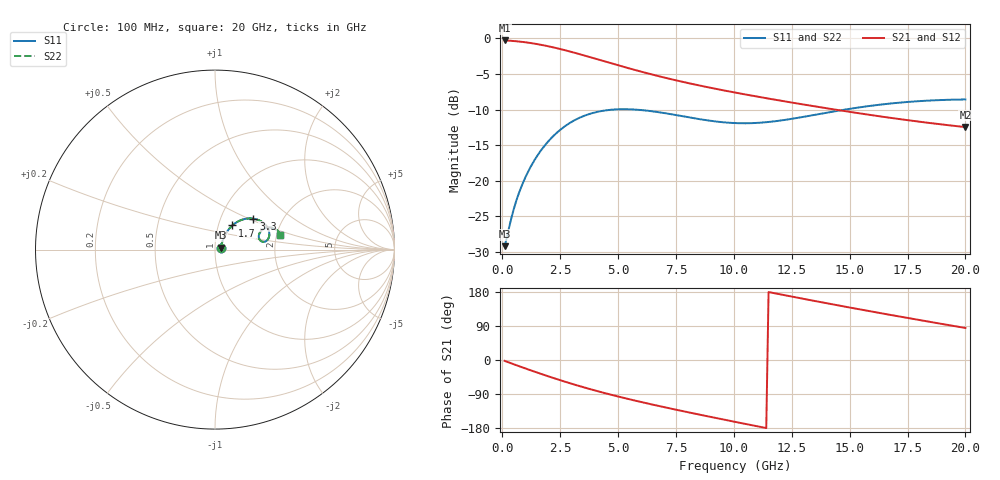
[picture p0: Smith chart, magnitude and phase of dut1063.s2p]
! Touchstone file exported from HFSS 2024.1.0
!  File:  C:/UserFiles/LocalFiles/RDL_TSV_Batchsim/temp_RDL_TSV_1063_1780091258.aedt
!  Generated:  06:06:17 AM May 30, 2026
!  Design:  RDL_TSV
!  Project:  temp_RDL_TSV_1063_1780091258
!  Setup:  Setup1
!  Solution:  Sweep
! Variables:
!  dtsv = 5.71um
!  hbump = 3um
!  htsv = 66.29um
!  ldown = 657.24um
!  lrdl = 568.87um
!  p = 40
!  p1 = 59.14um
!  rhole = 10um
!  subl = 4247.2um
!  t = 450um
!  tdown = 2.21um
!  trdl = 2.29um
!  viad = 10um
!  wdown = 15.44um
!  wrdl = 29.99um
!  xbump = 18um
# GHz S MA R 50.000000
! Terminal data exported
! Port[1] = TM1_1_T1
! Port[2] = TM1_4_T1
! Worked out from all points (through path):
!   200 points, 100 MHz to 20 GHz, reference 50 ohm
!   highest |S21| = -0.29 dB at 100 MHz (marker M1); lowest = -12.5 dB at 20 GHz (marker M2)
!   group delay of S21, straight-line fit = 36.4 ps
!   lowest |S11| = -29.2 dB at 100 MHz (marker M3), VSWR 1.07, Z = 53.4 + j1.11 ohm
!   |S11| at or under -10 dB: start of sweep to 4.834 GHz; 5.694 GHz to 14.82 GHz (9.127 GHz wide, 89 % of centre)
!   |S22| runs from -29.2 to -8.6 dB; largest |S21 - S12| = 8.1e-15
!   S11 on the Smith chart (normalised r, x): 100 MHz: 1.07, +0.02; 1.7 GHz: 1.17, +0.32; 3.3 GHz: 1.43, +0.53; 20 GHz: 2.09, +0.39
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0.1  0.03463 17.5  0.967 -2.3  0.967 -2.3  0.03463 17.5
! Gamma 0 0 0 0
! Port Impedance 50 0 50 0
0.5  0.06347 48.6  0.9579 -11.4  0.9579 -11.4  0.06347 48.6
0.8  0.08866 54.3  0.9474 -18.0  0.9474 -18.0  0.08865 54.3
1.2  0.1229 56.1  0.929 -26.7  0.929 -26.7  0.1229 56.2
1.7  0.1655 54.3  0.8997 -37.2  0.8997 -37.2  0.1655 54.4
2.1  0.1979 51.2  0.8722 -45.4  0.8722 -45.4  0.1979 51.3
2.5  0.2276 47.4  0.8421 -53.3  0.8421 -53.3  0.2276 47.4
3.3  0.275 38.7  0.7778 -68.2  0.7778 -68.2  0.2751 38.8
3.5  0.284 36.6  0.7616 -71.8  0.7616 -71.8  0.2841 36.6
4.3  0.3088 28.3  0.6983 -85.3  0.6983 -85.3  0.309 28.4
5.1  0.3176 21.2  0.6404 -97.8  0.6404 -97.8  0.3178 21.3
5.9  0.3145 15.6  0.5893 -109.5  0.5893 -109.5  0.3148 15.7
6.8  0.3021 11.3  0.5401 -121.9  0.5401 -121.9  0.3024 11.4
7.6  0.2873 9.3  0.5029 -132.5  0.5029 -132.5  0.2876 9.4
8.4  0.2726 9.1  0.4707 -142.7  0.4707 -142.7  0.2729 9.2
10.1  0.2537 13.3  0.4148 -163.8  0.4148 -163.8  0.2541 13.4
11.6  0.2595 19.0  0.3749 178.0  0.3749 178.0  0.26 19.1
13.4  0.2883 22.8  0.3348 156.8  0.3348 156.8  0.2888 23.0
15  0.3196 22.6  0.3045 138.5  0.3045 138.5  0.3203 22.7
16.7  0.3476 19.9  0.2773 119.7  0.2773 119.7  0.3484 20.0
18.3  0.3646 16.3  0.2561 102.4  0.2561 102.4  0.3654 16.4
20  0.3722 12.4  0.238 84.5  0.238 84.5  0.3731 12.6
